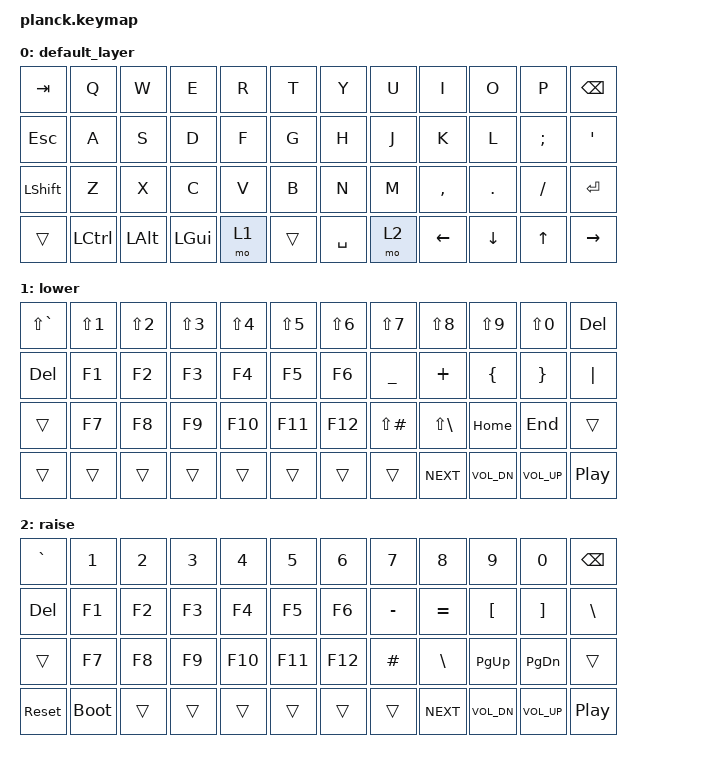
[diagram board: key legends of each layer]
/*
 * Copyright (c) 2020 The ZMK Contributors
 *
 * SPDX-License-Identifier: MIT
 */

#include <behaviors.dtsi>
#include <dt-bindings/zmk/keys.h>

/ {
    combos {
        compatible = "zmk,combos";
        // Gap bead: J+K home-row adjacent (all layers).
        combo_esc {
            bindings = <&kp ESC>;
            key-positions = <19 20>;
            timeout-ms = <50>;
        };
        // Gap bead: vertical D+C on Lower.
        combo_l1_tab {
            bindings = <&kp TAB>;
            key-positions = <15 27>;
            layers = <1>;
            timeout-ms = <50>;
        };
        // Anchor bead: non-adjacent F+H on Lower.
        combo_l1_caps {
            bindings = <&kp CAPS>;
            key-positions = <16 18>;
            layers = <1>;
            timeout-ms = <50>;
        };
        // Gap bead: U+I on Raise.
        combo_l2_esc {
            bindings = <&kp ESC>;
            key-positions = <7 8>;
            layers = <2>;
            timeout-ms = <50>;
        };
        // Anchor bead: J+K+L triple on Raise.
        combo_l2_bspc {
            bindings = <&kp BSPC>;
            key-positions = <19 20 21>;
            layers = <2>;
            timeout-ms = <50>;
        };
    };

    keymap {
        compatible = "zmk,keymap";

        default_layer {
            // -----------------------------------------------------------------------------------------
            // |  TAB  |  Q   |  W   |  E   |  R   |  T   |   Y   |  U    |  I   |  O   |   P   | BSPC  |
            // |  ESC  |  A   |  S   |  D   |  F   |  G   |   H   |  J    |  K   |  L   |   ;   |  '    |
            // | SHIFT |  Z   |  X   |  C   |  V   |  B   |   N   |  M    |  ,   |  .   |   /   |  RET  |
            // |       | LCTRL | LALT | LGUI | LOWR |     SPACE    |  RAIS | LEFT | DOWN | UP  |  RIGHT |
            bindings = <
                &kp TAB  &kp Q    &kp W &kp E &kp R &kp T  &kp Y   &kp U  &kp I    &kp O   &kp P    &kp BSPC
                &kp ESC  &kp A    &kp S &kp D &kp F &kp G  &kp H   &kp J  &kp K    &kp L   &kp SEMI &kp SQT
                &kp LSHFT &kp Z    &kp X &kp C &kp V &kp B  &kp N   &kp M  &kp COMMA &kp DOT &kp SLASH &kp RET
                &trans   &kp LCTRL &kp LALT &kp LGUI &mo 1 &trans &kp SPACE &mo 2 &kp LEFT &kp DOWN &kp UP &kp RIGHT
            >;
        };

        lower {
            bindings = <
                &kp LS(GRAVE) &kp LS(N1) &kp LS(N2) &kp LS(N3) &kp LS(N4) &kp LS(N5) &kp LS(N6) &kp LS(N7) &kp LS(N8) &kp LS(N9) &kp LS(N0) &kp DEL
                &kp DEL &kp F1 &kp F2 &kp F3 &kp F4 &kp F5 &kp F6 &kp UNDER &kp PLUS &kp LBRC &kp RBRC &kp PIPE
                &trans &kp F7 &kp F8 &kp F9 &kp F10 &kp F11 &kp F12 &kp LS(HASH) &kp LS(BSLH) &kp HOME &kp END &trans
                &trans &trans &trans &trans &trans &trans &trans &trans &kp C_NEXT &kp C_VOL_DN &kp C_VOL_UP &kp C_PP
            >;
        };

        raise {
            bindings = <
                &kp GRAVE &kp N1 &kp N2 &kp N3 &kp N4 &kp N5 &kp N6 &kp N7 &kp N8 &kp N9 &kp N0 &kp BSPC
                &kp DEL &kp F1 &kp F2 &kp F3 &kp F4 &kp F5 &kp F6 &kp MINUS &kp EQUAL &kp LBKT &kp RBKT &kp BSLH
                &trans &kp F7 &kp F8 &kp F9 &kp F10 &kp F11 &kp F12 &kp HASH &kp BSLH &kp PG_UP &kp PG_DN &trans
                &sys_reset &bootloader &trans &trans &trans &trans &trans &trans &kp C_NEXT &kp C_VOL_DN &kp C_VOL_UP &kp C_PP
            >;
        };
    };
};
